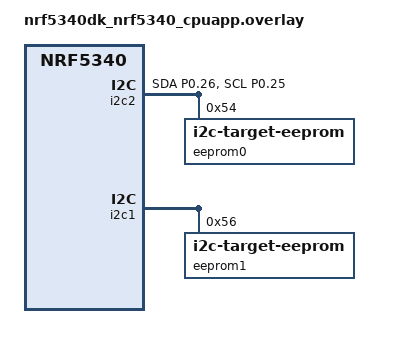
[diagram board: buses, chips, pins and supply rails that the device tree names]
/*
 * Copyright (c) 2024 Nordic Semiconductor ASA
 *
 * SPDX-License-Identifier: Apache-2.0
 */

&pinctrl {
	i2c2_default: i2c2_default {
		group1 {
			psels = <NRF_PSEL(TWIS_SDA, 0, 26)>,
				<NRF_PSEL(TWIS_SCL, 0, 25)>;
			bias-pull-up;
		};
	};

	i2c2_sleep: i2c2_sleep {
		group1 {
			psels = <NRF_PSEL(TWIS_SDA, 0, 26)>,
				<NRF_PSEL(TWIS_SCL, 0, 25)>;
			low-power-enable;
		};
	};
};

&i2c2 {
	compatible = "nordic,nrf-twis";
	pinctrl-0 = <&i2c2_default>;
	pinctrl-1 = <&i2c2_sleep>;
	pinctrl-names = "default", "sleep";
	status = "okay";

	eeprom0: eeprom@54 {
		compatible = "zephyr,i2c-target-eeprom";
		reg = <0x54>;
		address-width = <8>;
		size = <256>;
	};
};

&i2c1 {
	zephyr,concat-buf-size = <256>;
	status = "okay";

	eeprom1: eeprom@56 {
		compatible = "zephyr,i2c-target-eeprom";
		reg = <0x56>;
		address-width = <8>;
		size = <256>;
	};
};
